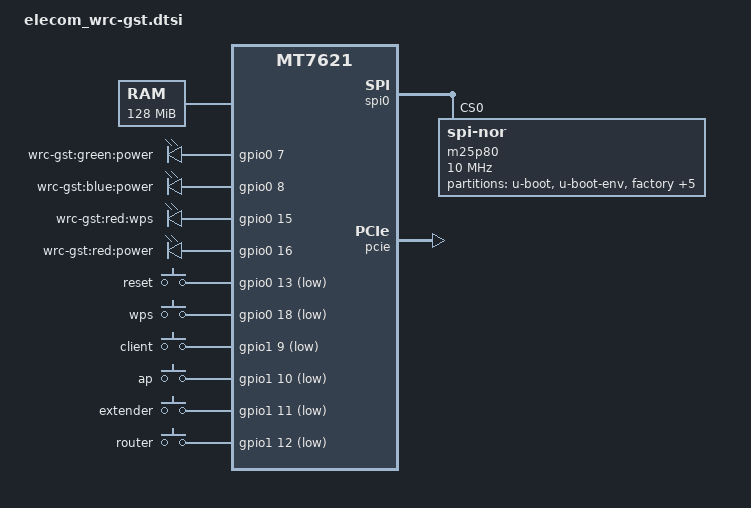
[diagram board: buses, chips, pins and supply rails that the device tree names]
// SPDX-License-Identifier: GPL-2.0
/dts-v1/;

#include "mt7621.dtsi"

#include <dt-bindings/gpio/gpio.h>
#include <dt-bindings/input/input.h>

/ {
	aliases {
		led-boot = &led_power_green;
		led-failsafe = &led_power_green;
		led-running = &led_power_green;
		led-upgrade = &led_power_green;
	};

	memory@0 {
		device_type = "memory";
		reg = <0x0 0x8000000>;
	};

	chosen {
		bootargs = "console=ttyS0,57600";
	};

	leds {
		compatible = "gpio-leds";

		led_power_green: power_green {
			label = "wrc-gst:green:power";
			gpios = <&gpio0 7 GPIO_ACTIVE_HIGH>;
		};

		power_blue {
			label = "wrc-gst:blue:power";
			gpios = <&gpio0 8 GPIO_ACTIVE_HIGH>;
		};

		wps {
			label = "wrc-gst:red:wps";
			gpios = <&gpio0 15 GPIO_ACTIVE_HIGH>;
		};

		power_red {
			label = "wrc-gst:red:power";
			gpios = <&gpio0 16 GPIO_ACTIVE_HIGH>;
		};
	};

	keys {
		compatible = "gpio-keys-polled";
		poll-interval = <20>;

		reset {
			label = "reset";
			gpios = <&gpio0 13 GPIO_ACTIVE_LOW>;
			linux,code = <KEY_RESTART>;
		};

		wps {
			label = "wps";
			gpios = <&gpio0 18 GPIO_ACTIVE_LOW>;
			linux,code = <KEY_WPS_BUTTON>;
		};

		client {
			label = "client";
			gpios = <&gpio1 9 GPIO_ACTIVE_LOW>;
			linux,code = <BTN_0>;
			linux,input-type = <EV_SW>;
		};

		ap {
			label = "ap";
			gpios = <&gpio1 10 GPIO_ACTIVE_LOW>;
			linux,code = <BTN_0>;
			linux,input-type = <EV_SW>;
		};

		extender {
			label = "extender";
			gpios = <&gpio1 11 GPIO_ACTIVE_LOW>;
			linux,code = <BTN_0>;
			linux,input-type = <EV_SW>;
		};

		router {
			label = "router";
			gpios = <&gpio1 12 GPIO_ACTIVE_LOW>;
			linux,code = <BTN_0>;
			linux,input-type = <EV_SW>;
		};
	};
};

&ethernet {
	mtd-mac-address = <&factory 0xe000>;
};

&spi0 {
	status = "okay";

	m25p80@0 {
		compatible = "jedec,spi-nor";
		reg = <0>;
		spi-max-frequency = <10000000>;

		partitions {
			compatible = "fixed-partitions";
			#address-cells = <1>;
			#size-cells = <1>;

			partition@0 {
				label = "u-boot";
				reg = <0x0 0x30000>;
				read-only;
			};

			partition@30000 {
				label = "u-boot-env";
				reg = <0x30000 0x10000>;
				read-only;
			};

			factory: partition@40000 {
				label = "factory";
				reg = <0x40000 0x10000>;
				read-only;
			};

			partition@50000 {
				compatible = "denx,uimage";
				label = "firmware";
				reg = <0x50000 0xb00000>;
			};

			partition@b50000 {
				label = "tm_pattern";
				reg = <0xb50000 0x380000>;
				read-only;
			};

			partition@ed0000 {
				label = "tm_key";
				reg = <0xed0000 0x80000>;
				read-only;
			};

			partition@f50000 {
				label = "art_block";
				reg = <0xf50000 0x30000>;
				read-only;
			};

			partition@f80000 {
				label = "user_data";
				reg = <0xf80000 0x80000>;
				read-only;
			};
		};
	};
};

&pinctrl {
	state_default: pinctrl0 {
		gpio {
			ralink,group = "uart3", "jtag", "wdt", "sdhci";
			ralink,function = "gpio";
		};
	};
};

&pcie {
	status = "okay";
	/* WRC-xxxxGST has MT7615 for 2.4/5 GHz wifi, but it's not supported */
};

&xhci {
	status = "disabled";
};
